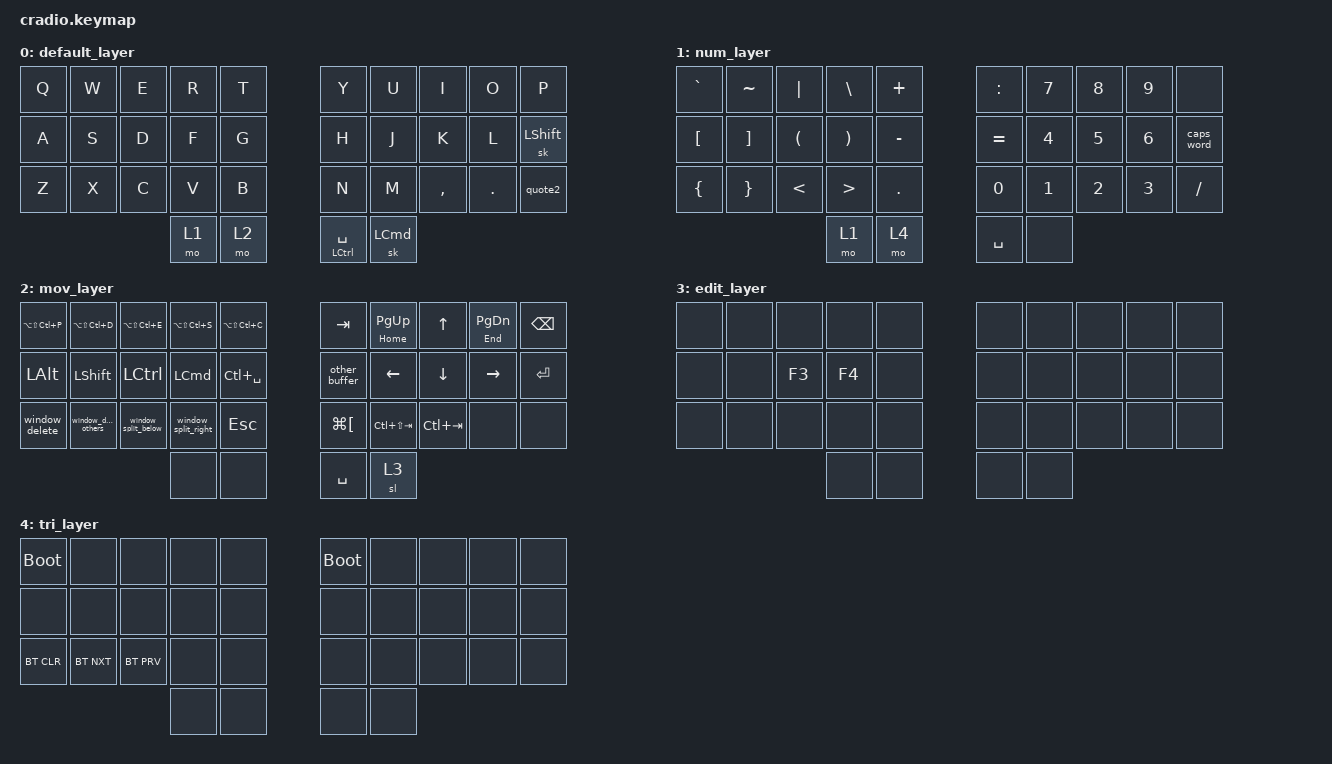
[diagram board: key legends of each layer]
/*
 * Copyright (c) 2020 The ZMK Contributors
 *
 * SPDX-License-Identifier: MIT
 */

#include <behaviors.dtsi>
#include <dt-bindings/zmk/keys.h>
#include <dt-bindings/zmk/bt.h>

&mt {
    //  flavor = "tap-preferred";
    // tapping_term_ms = <200>;
};

/ {
    macros {
        other_buffer: other_buffer {
            label = "other_buffer";
            compatible = "zmk,behavior-macro";
            #binding-cells = <0>;
            bindings
                = <&macro_press &kp LCTRL>
                , <&macro_tap &kp X>
                , <&macro_release &kp LCTRL>
                , <&macro_tap &kp O>
                ;
        };
        window_delete: window_delete {
            label = "window_delete";
            compatible = "zmk,behavior-macro";
            #binding-cells = <0>;
            bindings
                = <&macro_press &kp LCTRL>
                , <&macro_tap &kp X>
                , <&macro_release &kp LCTRL>
                , <&macro_tap &kp N0>
                ;
        };
        window_delete_others: window_delete_others {
            label = "window_delete_others";
            compatible = "zmk,behavior-macro";
            #binding-cells = <0>;
            bindings
                = <&macro_press &kp LCTRL>
                , <&macro_tap &kp X>
                , <&macro_release &kp LCTRL>
                , <&macro_tap &kp N1>
                ;
        };
        window_split_below: window_split_below {
            label = "window_split_below";
            compatible = "zmk,behavior-macro";
            #binding-cells = <0>;
            bindings
                = <&macro_press &kp LCTRL>
                , <&macro_tap &kp X>
                , <&macro_release &kp LCTRL>
                , <&macro_tap &kp N2>
                ;
        };
        window_split_right: window_split_right {
            label = "window_split_right";
            compatible = "zmk,behavior-macro";
            #binding-cells = <0>;
            bindings
                = <&macro_press &kp LCTRL>
                , <&macro_tap &kp X>
                , <&macro_release &kp LCTRL>
                , <&macro_tap &kp N3>
                ;
        };
    };

    behaviors {
        quote2: single_double_quote {
            compatible = "zmk,behavior-mod-morph";
            label = "SINGLE_DOUBLE_QUOTE";
            #binding-cells = <0>;
            bindings = <&kp SINGLE_QUOTE>, <&kp DOUBLE_QUOTES>;
            mods = <(MOD_LSFT|MOD_RSFT)>;
        };
    };
    
    combos {
        compatible = "zmk,combos";

        combo_esc {
            timeout-ms = <50>;
            key-positions = <0 1>;
            bindings = <&kp ESC>;
        };

        combo_tab {
            timeout-ms = <50>;
            key-positions = <10 11>;
            bindings = <&kp TAB>;
        };

        combo_ralt {
            timeout-ms = <50>;
            key-positions = <17 16>;
            bindings = <&kp RALT>;
        };

        combo_lalt {
            timeout-ms = <50>;
            key-positions = <11 12>;
            bindings = <&kp LALT>;
        };

        combo_lgui {
            timeout-ms = <50>;
            key-positions = <12 13>;
            bindings = <&kp LGUI>;
        };

        combo_rgui {
            timeout-ms = <50>;
            key-positions = <17 18>;
            bindings = <&kp RGUI>;
        };
    };

    keymap {
        compatible = "zmk,keymap";

        default_layer {
            bindings = <
  &kp Q   &kp W   &kp E   &kp R    &kp T    &kp Y             &kp U      &kp I      &kp O             &kp P
  &kp A   &kp S   &kp D   &kp F    &kp G    &kp H             &kp J      &kp K      &kp L             &sk LSHIFT
  &kp Z   &kp X   &kp C   &kp V    &kp B    &kp N             &kp M      &kp COMMA  &kp DOT           &kp quote2
                          &mo 1    &mo 2    &mt LCTRL SPACE   &sk LCMD
            >;
        };

        num_layer {
            bindings = <
 &kp GRAVE          &kp TILDE              &kp PIPE              &kp BACKSLASH           &kp PLUS   &kp COLON       &kp N7      &kp N8  &kp N9      &none
 &kp LEFT_BRACKET   &kp RIGHT_BRACKET      &kp LEFT_PARENTHESIS  &kp RIGHT_PARENTHESIS   &kp MINUS  &kp EQUAL       &kp N4      &kp N5  &kp N6      &caps_word
 &kp LEFT_BRACE     &kp RIGHT_BRACE        &kp LESS_THAN         &kp GREATER_THAN        &kp DOT    &kp N0          &kp N1      &kp N2  &kp N3      &kp SLASH
                                                                 &mo 1                   &mo 4      &kp SPACE       &none
            >;
        };

        mov_layer {
            bindings = <
 &kp LA(LS(LC(P))) &kp LA(LS(LC(D)))     &kp LA(LS(LC(E)))   &kp LA(LS(LC(S)))   &kp LA(LS(LC(C))) &kp TAB              &mt HOME PG_UP    &kp UP      &mt END PG_DN     &kp BACKSPACE
 &kp LALT          &kp LSHIFT            &kp LCTRL           &kp LCMD            &kp LC(SPACE)     &other_buffer        &kp LEFT          &kp DOWN    &kp RIGHT         &kp RETURN
 &window_delete    &window_delete_others &window_split_below &window_split_right &kp ESC           &kp LG(LEFT_BRACKET) &kp LC(LS(TAB))   &kp LC(TAB) &none             &none
                                                             &none               &none             &kp SPACE            &sl 3
            >;
        };

        edit_layer {
            bindings = <
 &none  &none  &none  &none  &none  &none  &none  &none  &none  &none
 &none  &none  &kp F3 &kp F4 &none  &none  &none  &none  &none  &none
 &none  &none  &none  &none  &none  &none  &none  &none  &none  &none
                      &none  &none  &none  &none
            >;
        };

        tri_layer {
            bindings = <
 &bootloader &none       &none          &none  &none      &bootloader  &none  &none &none  &none
 &none       &none       &none          &none  &none      &none  &none  &none &none  &none  
 &bt BT_CLR  &bt BT_NXT  &bt BT_PRV     &none  &none      &none  &none  &none &none  &none
                                        &none  &none      &none  &none
            >;
        };

    };
};
